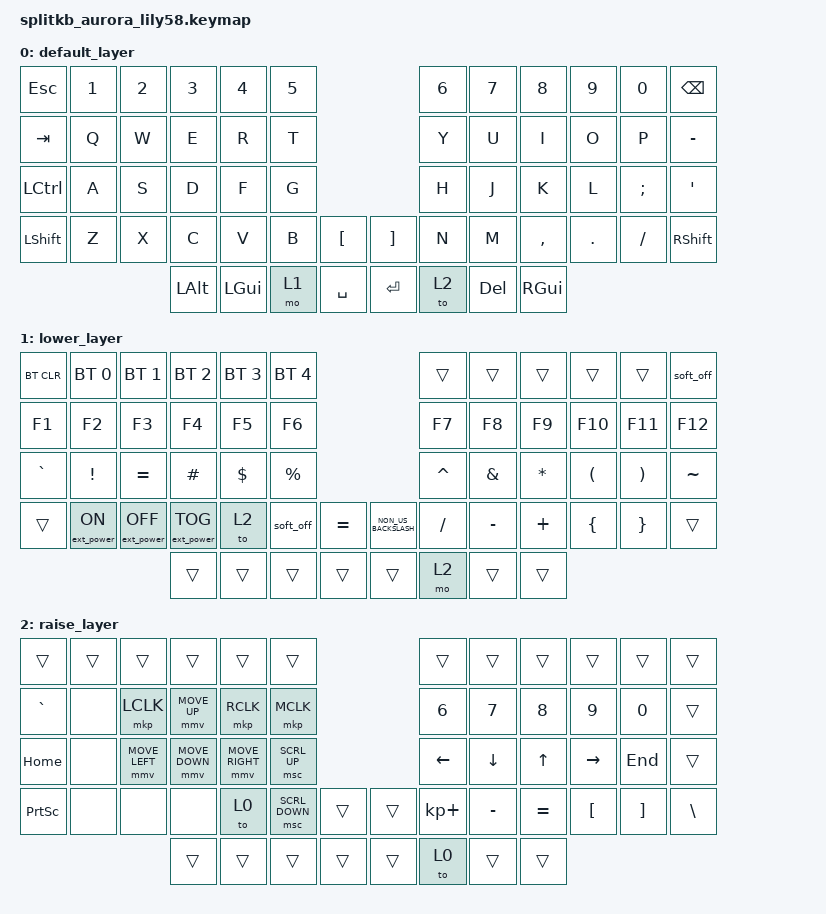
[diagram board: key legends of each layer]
/*
 * Copyright (c) 2022 The ZMK Contributors
 *
 * SPDX-License-Identifier: MIT
 */

#include <behaviors.dtsi>
#include <dt-bindings/zmk/bt.h>
#include <dt-bindings/zmk/ext_power.h>
#include <dt-bindings/zmk/keys.h>
#include <dt-bindings/zmk/pointing.h>

/ {
    keymap {
        compatible = "zmk,keymap";

        default_layer {
            // ------------------------------------------------------------------------------------------------------------
            // |  ESC  |  1  |  2  |  3   |  4   |  5   |                   |  6   |  7    |  8    |  9   |   0   |   `   |
            // |  TAB  |  Q  |  W  |  E   |  R   |  T   |                   |  Y   |  U    |  I    |  O   |   P   |   -   |
            // |  CTRL |  A  |  S  |  D   |  F   |  G   |                   |  H   |  J    |  K    |  L   |   ;   |   '   |
            // | SHIFT |  Z  |  X  |  C   |  V   |  B   |   "["  |  |  "]"  |  N   |  M    |  ,    |  .   |   /   | SHIFT |
            //                     | ALT  | GUI  | LOWER|  SPACE |  | ENTER | RAISE| BSPC  | GUI   |

            bindings = <
&kp ESC    &kp N1  &kp N2  &kp N3    &kp N4    &kp N5                         &kp N6  &kp N7      &kp N8     &kp N9   &kp N0    &kp BACKSPACE
&kp TAB    &kp Q   &kp W   &kp E     &kp R     &kp T                          &kp Y   &kp U       &kp I      &kp O    &kp P     &kp MINUS
&kp LCTRL  &kp A   &kp S   &kp D     &kp F     &kp G                          &kp H   &kp J       &kp K      &kp L    &kp SEMI  &kp SQT
&kp LSHFT  &kp Z   &kp X   &kp C     &kp V     &kp B   &kp LBKT     &kp RBKT  &kp N   &kp M       &kp COMMA  &kp DOT  &kp FSLH  &kp RSHFT
                           &kp LALT  &kp LGUI  &mo 1   &kp SPACE    &kp RET   &to 2   &kp DELETE  &kp RGUI
            >;
        };

        lower_layer {
            // ------------------------------------------------------------------------------------------------------------
            // | BTCLR | BT1 | BT2 |  BT3 |  BT4 |  BT5 |                   |      |       |       |      |       |       |
            // |  F1   |  F2 |  F3 |  F4  |  F5  |  F6  |                   |  F7  |  F8   |  F9   |  F10 |  F11  |  F12  |
            // |   `   |  !  |  @  |  #   |  $   |  %   |                   |  ^   |  &    |  *    |  (   |   )   |   ~   |
            // |       |     |     |      |      |      |        |  |       |      |  _    |  +    |  {   |   }   |  "|"  |
            //                     |      |      |      |        |  |       |      |       |       |

            bindings = <
&bt BT_CLR  &bt BT_SEL 0      &bt BT_SEL 1       &bt BT_SEL 2       &bt BT_SEL 3  &bt BT_SEL 4                                     &trans     &trans     &trans    &trans    &trans    &soft_off
&kp F1      &kp F2            &kp F3             &kp F4             &kp F5        &kp F6                                           &kp F7     &kp F8     &kp F9    &kp F10   &kp F11   &kp F12
&kp GRAVE   &kp EXCL          &kp EQUAL          &kp HASH           &kp DOLLAR    &kp PRCNT                                        &kp CARET  &kp AMPS   &kp STAR  &kp LPAR  &kp RPAR  &kp TILDE
&trans      &ext_power EP_ON  &ext_power EP_OFF  &ext_power EP_TOG  &to 2         &soft_off     &kp EQUAL    &kp NON_US_BACKSLASH  &kp SLASH  &kp MINUS  &kp PLUS  &kp LBRC  &kp RBRC  &trans
                                                 &trans             &trans        &trans        &trans       &trans                &mo 2      &trans     &trans
            >;
        };

        raise_layer {
            // ------------------------------------------------------------------------------------------------------------
            // |       |     |     |      |      |      |                   |      |       |       |      |       |       |
            // |   `   |  1  |  2  |  3   |  4   |  5   |                   |  6   |   7   |   8   |  9   |   0   |       |
            // |   F1  |  F2 |  F3 |  F4  |  F5  |  F6  |                   |      |   <-  |   v   |  ^   |  ->   |       |
            // |   F7  |  F8 |  F9 |  F10 |  F11 |  F12 |        |  |       |  +   |   -   |   =   |  [   |   ]   |   \   |
            //                     |      |      |      |        |  |       |      |       |       |

            bindings = <
&trans           &trans  &trans          &trans          &trans           &trans                            &trans       &trans          &trans        &trans     &trans    &trans
&kp GRAVE        &none   &mkp LCLK       &mmv MOVE_UP    &mkp RCLK        &mkp MCLK                         &kp N6       &kp N7          &kp N8        &kp N9     &kp N0    &trans
&kp HOME         &none   &mmv MOVE_LEFT  &mmv MOVE_DOWN  &mmv MOVE_RIGHT  &msc SCRL_UP                      &kp LEFT     &kp DOWN_ARROW  &kp UP_ARROW  &kp RIGHT  &kp END   &trans
&kp PRINTSCREEN  &none   &none           &none           &to 0            &msc SCRL_DOWN  &trans    &trans  &kp KP_PLUS  &kp MINUS       &kp EQUAL     &kp LBKT   &kp RBKT  &kp BSLH
                                         &trans          &trans           &trans          &trans    &trans  &to 0        &trans          &trans
            >;
        };
    };
};
